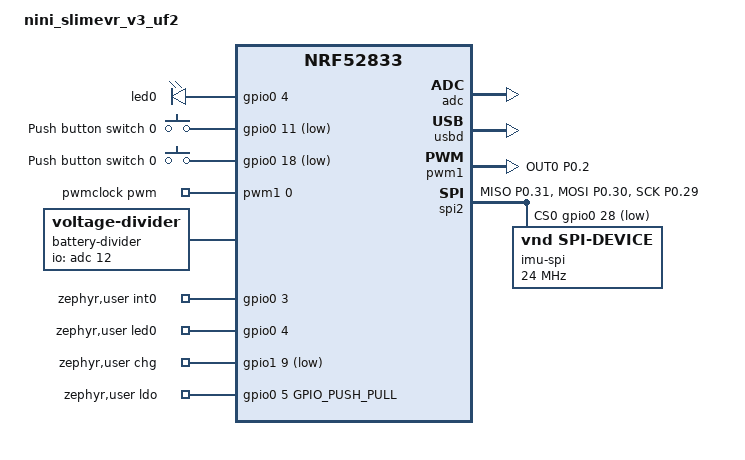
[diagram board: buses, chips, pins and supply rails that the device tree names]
// Copyright (c) 2024 Nordic Semiconductor ASA
// SPDX-License-Identifier: Apache-2.0

/dts-v1/;
#include <nordic/nrf52833_qdaa.dtsi>

//move to dtsi?

&pinctrl {
	spi2_default: spi2_default {
		group1 {
			psels = <NRF_PSEL(SPIM_MISO, 0, 31)>,
					<NRF_PSEL(SPIM_MOSI, 0, 30)>,
					<NRF_PSEL(SPIM_SCK, 0, 29)>;
		};
	};

	spi2_sleep: spi2_sleep {
		group1 {
			psels = <NRF_PSEL(SPIM_MISO, 0, 31)>,
					<NRF_PSEL(SPIM_MOSI, 0, 30)>,
					<NRF_PSEL(SPIM_SCK, 0, 29)>;
			low-power-enable;
		};
	};

	pwm1_default: pwm1_default {
		group1 {
			psels = <NRF_PSEL(PWM_OUT0, 0, 2)>;
		};
	};
	
	pwm1_sleep: pwm1_sleep {
		group1 {
			psels = <NRF_PIN_DISCONNECTED>;
			low-power-enable;
		};
	};

	ldo_ctrl_default: ldo_ctrl_default {
		group1 {
			psels = <NRF_PSEL(GPIO, 0, 5)>;
			nordic,drive-mode = <NRF_DRIVE_S0S1>;
		};
	};

	ldo_ctrl_sleep: ldo_ctrl_sleep {
		group1 {
			psels = <NRF_PSEL(GPIO, 0, 5)>;
			nordic,drive-mode = <NRF_DRIVE_S0S1>;
			low-power-enable;
		};
	};
};
//end

/ {
	model = "nini_slimevr_v3_uf2";
	compatible = "nini_slimevr_v3_uf2";

	chosen {
		zephyr,sram = &sram0;
		zephyr,flash = &flash0;
		zephyr,console = &cdc_acm_uart0;
		zephyr,shell-uart = &cdc_acm_uart0;
	};


	leds {
		compatible = "gpio-leds";
		led0: led_0 {
			gpios = <&gpio0 4 GPIO_OPEN_SOURCE>;
		};
	};

	buttons {
		compatible = "gpio-keys";
		button0: button_0 {
			gpios = <&gpio0 11 (GPIO_PULL_UP | GPIO_ACTIVE_LOW)>;
			label = "Push button switch 0";
		};
		button1: button_1 {
			gpios = <&gpio0 18 (GPIO_PULL_UP | GPIO_ACTIVE_LOW)>;
			label = "Push button switch 0";
		};
	};

	aliases {
		sw0 = &button0;
		sw1 = &button1;
		led0 = &led0;
	};

	pwmclock: pwmclock {
		compatible = "pwm-clock";
		#clock-cells = <1>;
		pwms = <&pwm1 0 PWM_HZ(32768) PWM_POLARITY_NORMAL>;
	};

	battery-divider {
		compatible = "voltage-divider";
		status = "okay";
		io-channels = <&adc 12>; // Measure VDDHDIV5
		output-ohms = <1>;
		full-ohms = <5>;
	};

	zephyr,user {
		int0-gpios = <&gpio0 3 0>;
		led0-gpios = <&gpio0 4 GPIO_ACTIVE_HIGH>;
		chg-gpios = <&gpio1 9 (GPIO_ACTIVE_LOW | GPIO_PULL_UP)>;
		ldo-gpios = <&gpio0 5 GPIO_PUSH_PULL>;
		//clk-gpios = <&gpio0 2 GPIO_OPEN_DRAIN>; // Uncomment and set to correct pin if using an external clock (crystal oscillator)
	};
};


&reg1 {
	regulator-initial-mode = <NRF5X_REG_MODE_LDO>;
};

&adc {
	status = "okay";
};

&gpiote {
	status = "okay";
};

&gpio0 {
	status = "okay";
};

&gpio1 {
	status = "okay";
};

zephyr_udc0: &usbd {
	compatible = "nordic,nrf-usbd";
	status = "okay";
	cdc_acm_uart0: cdc_acm_uart0 {
		compatible = "zephyr,cdc-acm-uart";
	};
};

&nfct {
	status = "disabled";
};

&pwm1 {
	status = "okay";
	pinctrl-0 = <&pwm1_default>;
	pinctrl-1 = <&pwm1_sleep>;
	pinctrl-names = "default", "sleep";
};

&spi2 {
	status = "okay";
	compatible = "nordic,nrf-spim";
	pinctrl-0 = <&spi2_default>;
	pinctrl-1 = <&spi2_sleep>;
	pinctrl-names = "default", "sleep";
	cs-gpios = <&gpio0 28 GPIO_ACTIVE_LOW>;

	imu_spi: imu@0 {
		compatible = "vnd,spi-device";
		spi-max-frequency = <DT_FREQ_M(24)>;
		label = "imu-spi";
		reg = <0>;
	};
};

